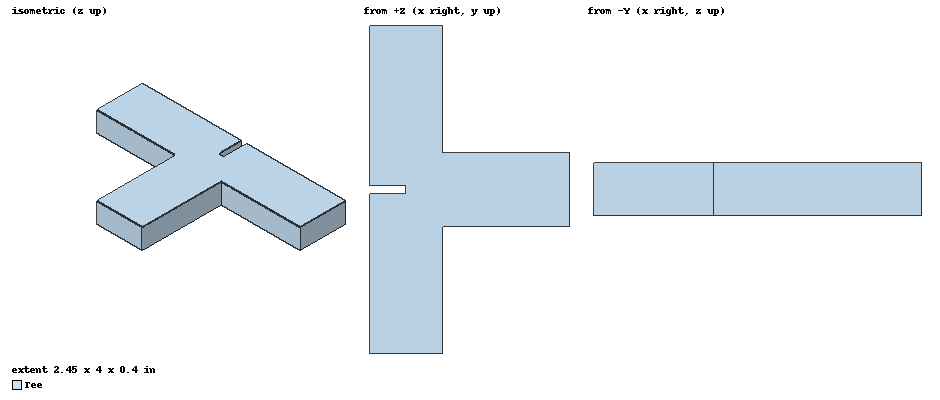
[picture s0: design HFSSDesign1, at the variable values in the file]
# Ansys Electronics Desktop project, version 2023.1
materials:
  vacuum: permittivity=1

design HFSSDesign1 (HFSS, HFSS Modal Network, model units in)
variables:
  Offset = 0in
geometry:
  Tee [vacuum] = box(corner=(0in, -0.45in, 0in), size=(2in, 0.9in, 0.4in))
  Tee_1 = Tee.duplicate_around_axis(axis=Z, angle=90deg, total=2)
  Tee_2 = Tee.duplicate_around_axis(axis=Z, angle=-90deg, total=2)
  Tee.unite(Tee_2, Tee_1)
  Septum = box(corner=(-0.45in, Offset-0.05in, 0in), size=(0.45in, 0.1in, 0.4in))
  Tee.subtract(Septum)
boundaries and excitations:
  Port1: Wave Port Faces=Tee.face(+x) WavePortType=Modal NumModes=1 Modes{Mode1{IntLine{(2, 0, 0) -> (2, 0, 0.4)} CharImp=Zpi}}
  Port2: Wave Port Faces=Tee.face(at (0, 2, 0.2)) WavePortType=Modal NumModes=1 Modes{Mode1{IntLine{(0, 2, 0) -> (0, 2, 0.4)} CharImp=Zpi}}
  Port3: Wave Port Faces=Tee.face(at (0, -2, 0.2)) WavePortType=Modal NumModes=1 Modes{Mode1{IntLine{(0, -2, 0) -> (0, -2, 0.4)} CharImp=Zpi}}
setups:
  Setup1: HfssDriven Frequency=10GHz MaxDeltaS=0.01 MaximumPasses=6 MinimumPasses=1 MinimumConvergedPasses=1 PercentRefinement=30 BasisOrder=1 PortAccuracy=2 DrivenSolverType="Direct Solver"
    sweep Sweep1: 8GHz to 10GHz step 0.05GHz; Type=Interpolating InterpTolerance=0.5 InterpMaxSolns=250 InterpUsePortImped=false PassivityErrorTolerance=0.0001
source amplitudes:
  Port1:1: 1W 0deg
  Port2:1, Port3:1: 0W 0deg
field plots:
  Mag_E1: E Field over Tee.face(+z) on Setup1 : LastAdaptive at Freq=10GHz Phase=0deg
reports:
  S Parameter Plot 1: mag(S(Port1,Port1)), mag(S(Port1,Port2)), mag(S(Port1,Port3)) vs Freq on Setup1 : Sweep1 [Offset=all]
